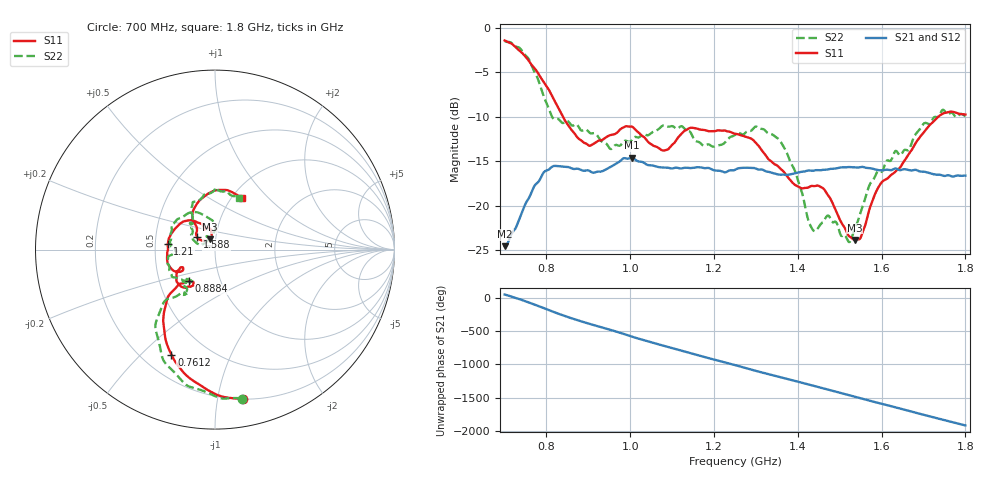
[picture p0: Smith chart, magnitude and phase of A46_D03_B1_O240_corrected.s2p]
! Created with skrf 1.9.0 (http://scikit-rf.org).
# Hz S RI R 50.0
!freq ReS11 ImS11 ReS21 ImS21 ReS12 ImS12 ReS22 ImS22
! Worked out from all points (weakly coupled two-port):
!   1601 points, 700 MHz to 1.8 GHz, reference 50 ohm
!   highest |S21| = -14.61 dB at 1.005 GHz (marker M1); lowest = -24.5 dB at 701.4 MHz (marker M2)
!   lowest |S11| = -23.8 dB at 1.536 GHz (marker M3), VSWR 1.14, Z = 46.8 + j5.37 ohm
!   |S11| at or under -10 dB: 839.1 MHz to 1.735 GHz (896.1 MHz wide, 69.6 % of centre)
!   |S22| runs from -24.1 to -1.5 dB; largest |S21 - S12| = 0.0034
!   S11 on the Smith chart (normalised r, x): 700 MHz: 0.20, -1.19; 761.2 MHz: 0.32, -0.62; 888.4 MHz: 0.71, -0.26; 1.21 GHz: 0.58, +0.04; 1.588 GHz: 0.81, +0.11; 1.8 GHz: 1.11, +0.72
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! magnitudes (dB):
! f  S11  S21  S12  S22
! 700 MHz  -1.4  -24.5  -24.3  -1.5
! 701.4 MHz  -1.5  -24.5  -24.2  -1.5
! 761.2 MHz  -4.0  -18.8  -18.7  -3.9
! 814.8 MHz  -7.8  -15.6  -15.6  -10.1
! 883.6 MHz  -12.7  -16.0  -15.9  -11.6
! 888.4 MHz  -12.9  -16.1  -16.0  -11.5
! 953 MHz  -12.1  -15.6  -15.6  -13.6
! 1.005 GHz  -11.1  -14.6  -14.8  -12.6
! 1.067 GHz  -13.5  -15.7  -15.6  -11.4
! 1.143 GHz  -11.3  -15.8  -15.7  -11.7
! 1.21 GHz  -11.5  -16.1  -16.1  -13.2
! 1.25 GHz  -11.9  -16.0  -15.9  -12.0
! 1.356 GHz  -15.7  -16.5  -16.4  -12.6
! 1.394 GHz  -17.7  -16.4  -16.3  -16.2
! 1.434 GHz  -17.8  -16.1  -16.0  -22.6
! 1.473 GHz  -18.9  -15.9  -15.9  -21.1
! 1.522 GHz  -23.4  -15.7  -15.7  -24.1
! 1.536 GHz  -23.8  -15.7  -15.7  -22.6
! 1.588 GHz  -18.3  -16.0  -16.0  -16.3
! 1.617 GHz  -16.8  -16.0  -15.9  -14.9
! 1.737 GHz  -9.9  -16.5  -16.6  -9.9
! 1.8 GHz  -9.8  -16.6  -16.6  -9.9
